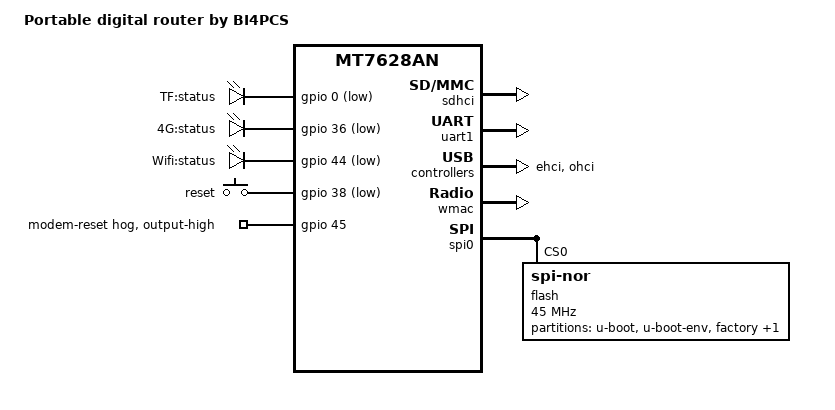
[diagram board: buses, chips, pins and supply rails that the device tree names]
// SPDX-License-Identifier: GPL-2.0-or-later OR MIT

#include "mt7628an.dtsi"

#include <dt-bindings/gpio/gpio.h>
#include <dt-bindings/input/input.h>

/ {
	compatible = "totolink,lr1200", "mediatek,mt7628dan";
	model = "Portable digital router by BI4PCS";

	aliases {
		led-boot = &led_status_Wifi;
		led-failsafe = &led_status_4G;
		led-running = &led_status_Wifi;
		led-upgrade = &led_status_4G;
	};

	leds {
		compatible = "gpio-leds";

		led_status_TF: status_TF {
			label = "TF:status";
			gpios = <&gpio 0 GPIO_ACTIVE_LOW>;
		};

		led_status_4G: status_4G {
			label = "4G:status";
			gpios = <&gpio 36 GPIO_ACTIVE_LOW>;
		};

		led_status_Wifi: status_Wifi {
			label = "Wifi:status";
			gpios = <&gpio 44 GPIO_ACTIVE_LOW>;
		};
	};

	keys {
		compatible = "gpio-keys";

		reset {
			label = "reset";
			gpios = <&gpio 38 GPIO_ACTIVE_LOW>;
			linux,code = <KEY_RESTART>;
		};
	};
};

&gpio {
	gpio_modem_reset {
		gpio-hog;
		gpios = <45 GPIO_ACTIVE_HIGH>;
		output-high;
		line-name = "modem-reset";
	};
};

&state_default {
	gpio {
		groups = "gpio", "i2c", "i2s", "refclk", "wdt", "wled_an";
		function = "gpio";
	};
};

&sdhci {
	status = "okay";
	mediatek,cd-low;
	
};

&uart1 {
	status = "okay";
};

&ehci {
	status = "okay";
	
};

&ohci {
	status = "okay";
	
};

&wmac {
	status = "okay";
};

&ethernet {
	mtd-mac-address = <&factory 0x28>;
};

&spi0 {
	status = "okay";

	flash@0 {
		compatible = "jedec,spi-nor";
		reg = <0>;
		spi-max-frequency = <45000000>;
		broken-flash-reset;

		partitions {
			compatible = "fixed-partitions";
			#address-cells = <1>;
			#size-cells = <1>;

			partition@0 {
				label = "u-boot";
				reg = <0x0 0x30000>;
				read-only;
			};

			partition@30000 {
				label = "u-boot-env";
				reg = <0x30000 0x10000>;
			};

			factory: partition@40000 {
				label = "factory";
				reg = <0x40000 0x10000>;
				read-only;
			};

			partition@50000 {
				compatible = "denx,uimage";
				label = "firmware";
				reg = <0x50000 0x1fb0000>;
			};
		};
	};
};
